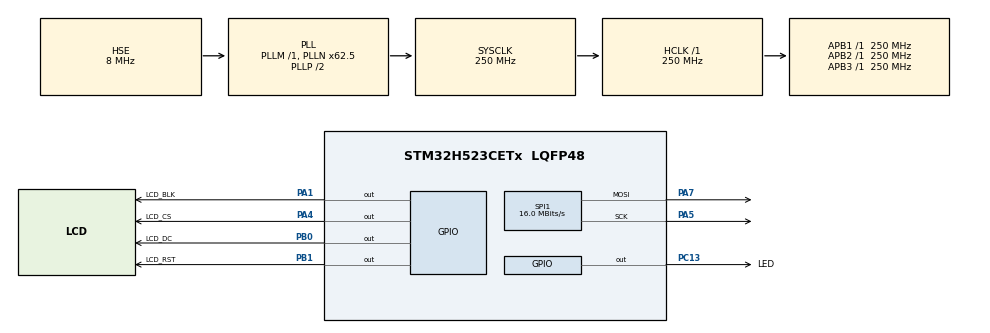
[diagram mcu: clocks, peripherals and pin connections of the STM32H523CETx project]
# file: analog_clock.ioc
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BOOTPATH.BootPathName=LEGACY
BOOTPATH.UserSelectedBootPath=LEGACY
CORTEX_M33_NS.Number-Cortex_Memory_Protection_Unit_Region0_OTP_RO_AREAS_Settings=MPU_REGION_NUMBER0
CORTEX_M33_NS.default_mode_Activation=1
CORTEX_M33_NS.userName=CORTEX_M33
GPDMA1.DESTDATAWIDTH_GPDMACH0=DMA_DEST_DATAWIDTH_HALFWORD
GPDMA1.DIRECTION_GPDMACH0=DMA_MEMORY_TO_PERIPH
GPDMA1.IPHANDLE_GPDMACH0-SIMPLEREQUEST_GPDMACH0=__NULL
GPDMA1.REQUEST_GPDMACH0=GPDMA1_REQUEST_SPI1_TX
GPDMA1.SRCDATAWIDTH_GPDMACH0=DMA_SRC_DATAWIDTH_HALFWORD
GPDMA1.SRCINC_GPDMACH0=DMA_SINC_INCREMENTED
Mcu.Family=STM32H5
Mcu.Name=STM32H523CETx
Mcu.Package=LQFP48
NVIC.GPDMA1_Channel0_IRQn=true\:0\:0\:false\:false\:true\:false\:false\:true\:true
NVIC.PriorityGroup=NVIC_PRIORITYGROUP_4
NVIC.SPI1_IRQn=true\:0\:0\:false\:false\:true\:false\:true\:true\:true
NVIC.TIM6_IRQn=true\:0\:0\:false\:false\:true\:false\:true\:true\:true
NVIC.TIM7_IRQn=true\:15\:0\:false\:false\:true\:false\:false\:true\:true
NVIC.TimeBase=TIM7_IRQn
NVIC.TimeBaseIP=TIM7
PA1.GPIO_Label=LCD_BLK
PA1.GPIO_Speed=GPIO_SPEED_FREQ_VERY_HIGH
PA1.Signal=GPIO_Output
PA13(JTMS/SWDIO).Mode=Serial_Wire
PA13(JTMS/SWDIO).Signal=DEBUG_JTMS-SWDIO
PA14(JTCK/SWCLK).Mode=Serial_Wire
PA14(JTCK/SWCLK).Signal=DEBUG_JTCK-SWCLK
PA4.GPIO_Label=LCD_CS
PA4.GPIO_Speed=GPIO_SPEED_FREQ_VERY_HIGH
PA4.PinState=GPIO_PIN_SET
PA4.Signal=GPIO_Output
PA5.Mode=TX_Only_Simplex_Unidirect_Master
PA5.Signal=SPI1_SCK
PA7.Mode=TX_Only_Simplex_Unidirect_Master
PA7.Signal=SPI1_MOSI
PB0.GPIO_Label=LCD_DC
PB0.GPIO_Speed=GPIO_SPEED_FREQ_VERY_HIGH
PB0.PinState=GPIO_PIN_SET
PB0.Signal=GPIO_Output
PB1.GPIO_Label=LCD_RST
PB1.GPIO_Speed=GPIO_SPEED_FREQ_VERY_HIGH
PB1.PinState=GPIO_PIN_SET
PB1.Signal=GPIO_Output
PC13.GPIO_Label=LED
PC13.PinState=GPIO_PIN_SET
PC13.Signal=GPIO_Output
PH0-OSC_IN(PH0).Mode=HSE-External-Oscillator
PH0-OSC_IN(PH0).Signal=RCC_OSC_IN
PH1-OSC_OUT(PH1).Mode=HSE-External-Oscillator
PH1-OSC_OUT(PH1).Signal=RCC_OSC_OUT
ProjectManager.HeapSize=0x200
ProjectManager.StackSize=0x4000
ProjectManager.TargetToolchain=STM32CubeIDE
RCC.ADCFreq_Value=250000000
RCC.AHBFreq_Value=250000000
RCC.APB1Freq_Value=250000000
RCC.APB1TimFreq_Value=250000000
RCC.APB2Freq_Value=250000000
RCC.APB2TimFreq_Value=250000000
RCC.APB3Freq_Value=250000000
RCC.CSI_VALUE=4000000
RCC.CortexFreq_Value=250000000
RCC.EPOD_VALUE=8000000
RCC.HCLKFreq_Value=250000000
RCC.HSE_VALUE=8000000
RCC.HSI48_VALUE=48000000
RCC.HSI_VALUE=64000000
RCC.LSE_VALUE=32768
RCC.LSIRC_VALUE=32000
RCC.PLLFRACN=4096
RCC.PLLN=62
RCC.PLLSourceVirtual=RCC_PLL1_SOURCE_HSE
RCC.SPI1CLockSelection=RCC_SPI1CLKSOURCE_CLKP
RCC.SYSCLKFreq_VALUE=250000000
RCC.SYSCLKSource=RCC_SYSCLKSOURCE_PLLCLK
RCC.USBFreq_Value=48000000
RCC.VCOOutputFreq_Value=500000000
RTC.Date=8
RTC.Month=RTC_MONTH_SEPTEMBER
RTC.WeekDay=RTC_WEEKDAY_TUESDAY
RTC.Year=26
SPI1.BaudRatePrescaler=SPI_BAUDRATEPRESCALER_2
SPI1.CalculateBaudRate=16.0 MBits/s
SPI1.DataSize=SPI_DATASIZE_16BIT
SPI1.Direction=SPI_DIRECTION_2LINES_TXONLY
SPI1.Mode=SPI_MODE_MASTER
SPI1.VirtualType=VM_MASTER
STMicroelectronics.X-CUBE-TOUCHGFX.4.26.1.ApplicationCcGraphicsJjApplication=TouchGFXOoGenerator
STMicroelectronics.X-CUBE-TOUCHGFX.4.26.1.tgfx_block_size=4800
STMicroelectronics.X-CUBE-TOUCHGFX.4.26.1.tgfx_buffering_strategy=Partial
STMicroelectronics.X-CUBE-TOUCHGFX.4.26.1.tgfx_custom_height=240
STMicroelectronics.X-CUBE-TOUCHGFX.4.26.1.tgfx_custom_width=240
STMicroelectronics.X-CUBE-TOUCHGFX.4.26.1_IsPackSelfContextualization=true
THREADX.TX_APP_GENERATE_INIT_CODE=true
THREADX.TX_APP_MEM_POOL_SIZE=16384
TIM6.PeriodNoDither=1666
TIM6.Prescaler=2499
VP_BOOTPATH_VS_BOOTPATH.Mode=BP_Activate
VP_CORTEX_M33_NS_VS_Hclk.Mode=Hclk_Mode
VP_CRC_VS_CRC.Mode=CRC_Activate
VP_GPDMA1_VS_GPDMACH0.Mode=SIMPLEREQUEST_GPDMACH0
VP_ICACHE_VS_ICACHE.Mode=DirectMappedCache
VP_MEMORYMAP_VS_MEMORYMAP.Mode=CurAppReg
VP_PWR_VS_LPOM.Mode=PowerOptimisation
VP_PWR_VS_SECSignals.Mode=Security/Privilege
VP_RTC_VS_RTC_Activate.Mode=RTC_Enabled
VP_RTC_VS_RTC_Calendar.Mode=RTC_Calendar
VP_STMicroelectronics.X-CUBE-TOUCHGFX_VS_GraphicsJjApplication_4.26.1.Mode=GraphicsJjApplication
VP_SYS_VS_tim7.Mode=TIM7
VP_THREADX_VS_RTOSJjThreadXJjCoreJjDefault.Mode=Core_Default
VP_TIM6_VS_ClockSourceINT.Mode=Enable_Timer
board=custom

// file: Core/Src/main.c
/* USER CODE BEGIN Header */
/**
  ******************************************************************************
  * @file           : main.c
  * @brief          : Main program body
  ******************************************************************************
  * @attention
  *
  * Copyright (c) 2026 STMicroelectronics.
  * All rights reserved.
  *
  * This software is licensed under terms that can be found in the LICENSE file
  * in the root directory of this software component.
  * If no LICENSE file comes with this software, it is provided AS-IS.
  *
  ******************************************************************************
  */
/* USER CODE END Header */
#include "app_threadx.h"
#include "main.h"
#include "app_touchgfx.h"

/* USER CODE BEGIN Includes */
#include "st7789.h"
#include <stdio.h>
#if defined(LOG_BACKEND_RTT)
  #include "SEGGER_RTT.h"
#endif
/* USER CODE END Includes */

/* USER CODE BEGIN PD */
#if   defined(LOG_BACKEND_RTT)
  #define LOG_BACKEND_NAME "SEGGER RTT"
#elif defined(LOG_BACKEND_SWO)
  #define LOG_BACKEND_NAME "SWV / ITM port 0"
#elif defined(LOG_BACKEND_UART)
  #define LOG_BACKEND_NAME "USART1 @ 115200"
#else
  #error "Chua chon backend: define LOG_BACKEND_RTT / _SWO / _UART"
#endif
/* USER CODE END PD */

CRC_HandleTypeDef hcrc;

RTC_HandleTypeDef hrtc;

SPI_HandleTypeDef hspi1;
DMA_HandleTypeDef handle_GPDMA1_Channel0;

TIM_HandleTypeDef htim6;

void SystemClock_Config(void);
void PeriphCommonClock_Config(void);
static void MPU_Config(void);
static void MX_GPIO_Init(void);
static void MX_GPDMA1_Init(void);
static void MX_ICACHE_Init(void);
static void MX_SPI1_Init(void);
static void MX_TIM6_Init(void);
static void MX_CRC_Init(void);
static void MX_RTC_Init(void);

/* USER CODE BEGIN 0 */
extern void touchgfxSignalVSync(void);

/* printf() -> _write() -> __io_putchar() -> backend */
int __io_putchar(int ch)
{
#if   defined(LOG_BACKEND_RTT)
  SEGGER_RTT_PutChar(0, (char)ch);
#elif defined(LOG_BACKEND_SWO)
  ITM_SendChar((uint32_t)ch);
#else
  HAL_UART_Transmit(&huart1, (uint8_t *)&ch, 1, HAL_MAX_DELAY);
#endif
  return ch;
}
/* USER CODE END 0 */

int main(void)
{

  /* MCU Configuration--------------------------------------------------------*/

  /* MPU Configuration--------------------------------------------------------*/
  MPU_Config();

  /* Reset of all peripherals, Initializes the Flash interface and the Systick. */
  HAL_Init();

  /* Configure the system clock */
  SystemClock_Config();

  /* Configure the peripherals common clocks */
  PeriphCommonClock_Config();

  /* Initialize all configured peripherals */
  MX_GPIO_Init();
  MX_GPDMA1_Init();
  MX_ICACHE_Init();
  MX_SPI1_Init();
  MX_TIM6_Init();
  MX_CRC_Init();
  MX_RTC_Init();
  /* Call PreOsInit function */
  MX_TouchGFX_PreOSInit();
  /* USER CODE BEGIN 2 */

#if defined(LOG_BACKEND_RTT)
  SEGGER_RTT_Init();
#endif

  setvbuf(stdout, NULL, _IONBF, 0);   /* tat buffer: printf ra ngay lap tuc */

  printf("\r\n==========================================\r\n");
  printf("  Hello World from STM32H523CET6!\r\n");
  printf("  Backend: %s\r\n", LOG_BACKEND_NAME);
  printf("  SYSCLK : %lu Hz\r\n", (unsigned long)HAL_RCC_GetSysClockFreq());
  printf("  HCLK   : %lu Hz\r\n", (unsigned long)HAL_RCC_GetHCLKFreq());
  printf("  Build  : %s %s\r\n", __DATE__, __TIME__);
  printf("==========================================\r\n\n");
  /* USER CODE END 2 */

  MX_ThreadX_Init();

  /* We should never get here as control is now taken by the scheduler */

  /* Infinite loop */
  while (1)
  {

  }
}

void SystemClock_Config(void)
{
  RCC_OscInitTypeDef RCC_OscInitStruct = {0};
  RCC_ClkInitTypeDef RCC_ClkInitStruct = {0};

  /** Configure the main internal regulator output voltage
  */
  __HAL_PWR_VOLTAGESCALING_CONFIG(PWR_REGULATOR_VOLTAGE_SCALE0);

  while(!__HAL_PWR_GET_FLAG(PWR_FLAG_VOSRDY)) {}

  /** Initializes the RCC Oscillators according to the specified parameters
  * in the RCC_OscInitTypeDef structure.
  */
  RCC_OscInitStruct.OscillatorType = RCC_OSCILLATORTYPE_HSI|RCC_OSCILLATORTYPE_LSI
                              |RCC_OSCILLATORTYPE_HSE;
  RCC_OscInitStruct.HSEState = RCC_HSE_ON;
  RCC_OscInitStruct.HSIState = RCC_HSI_ON;
  RCC_OscInitStruct.HSIDiv = RCC_HSI_DIV2;
  RCC_OscInitStruct.HSICalibrationValue = RCC_HSICALIBRATION_DEFAULT;
  RCC_OscInitStruct.LSIState = RCC_LSI_ON;
  RCC_OscInitStruct.PLL.PLLState = RCC_PLL_ON;
  RCC_OscInitStruct.PLL.PLLSource = RCC_PLL1_SOURCE_HSE;
  RCC_OscInitStruct.PLL.PLLM = 1;
  RCC_OscInitStruct.PLL.PLLN = 62;
  RCC_OscInitStruct.PLL.PLLP = 2;
  RCC_OscInitStruct.PLL.PLLQ = 2;
  RCC_OscInitStruct.PLL.PLLR = 2;
  RCC_OscInitStruct.PLL.PLLRGE = RCC_PLL1_VCIRANGE_3;
  RCC_OscInitStruct.PLL.PLLVCOSEL = RCC_PLL1_VCORANGE_WIDE;
  RCC_OscInitStruct.PLL.PLLFRACN = 4096;
  if (HAL_RCC_OscConfig(&RCC_OscInitStruct) != HAL_OK)
  {
    Error_Handler();
  }

  /** Initializes the CPU, AHB and APB buses clocks
  */
  RCC_ClkInitStruct.ClockType = RCC_CLOCKTYPE_HCLK|RCC_CLOCKTYPE_SYSCLK
                              |RCC_CLOCKTYPE_PCLK1|RCC_CLOCKTYPE_PCLK2
                              |RCC_CLOCKTYPE_PCLK3;
  RCC_ClkInitStruct.SYSCLKSource = RCC_SYSCLKSOURCE_PLLCLK;
  RCC_ClkInitStruct.AHBCLKDivider = RCC_SYSCLK_DIV1;
  RCC_ClkInitStruct.APB1CLKDivider = RCC_HCLK_DIV1;
  RCC_ClkInitStruct.APB2CLKDivider = RCC_HCLK_DIV1;
  RCC_ClkInitStruct.APB3CLKDivider = RCC_HCLK_DIV1;

  if (HAL_RCC_ClockConfig(&RCC_ClkInitStruct, FLASH_LATENCY_5) != HAL_OK)
  {
    Error_Handler();
  }

  /** Configure the programming delay
  */
  __HAL_FLASH_SET_PROGRAM_DELAY(FLASH_PROGRAMMING_DELAY_2);
}

void PeriphCommonClock_Config(void)
{
  RCC_PeriphCLKInitTypeDef PeriphClkInitStruct = {0};

  /** Initializes the peripherals clock
  */
  PeriphClkInitStruct.PeriphClockSelection = RCC_PERIPHCLK_CKPER;
  PeriphClkInitStruct.CkperClockSelection = RCC_CLKPSOURCE_HSI;
  if (HAL_RCCEx_PeriphCLKConfig(&PeriphClkInitStruct) != HAL_OK)
  {
    Error_Handler();
  }
}

static void MX_CRC_Init(void)
{

  hcrc.Instance = CRC;
  hcrc.Init.DefaultPolynomialUse = DEFAULT_POLYNOMIAL_ENABLE;
  hcrc.Init.DefaultInitValueUse = DEFAULT_INIT_VALUE_ENABLE;
  hcrc.Init.InputDataInversionMode = CRC_INPUTDATA_INVERSION_NONE;
  hcrc.Init.OutputDataInversionMode = CRC_OUTPUTDATA_INVERSION_DISABLE;
  hcrc.InputDataFormat = CRC_INPUTDATA_FORMAT_BYTES;
  if (HAL_CRC_Init(&hcrc) != HAL_OK)
  {
    Error_Handler();
  }

}

static void MX_GPDMA1_Init(void)
{

  /* Peripheral clock enable */
  __HAL_RCC_GPDMA1_CLK_ENABLE();

  /* GPDMA1 interrupt Init */
    HAL_NVIC_SetPriority(GPDMA1_Channel0_IRQn, 0, 0);
    HAL_NVIC_EnableIRQ(GPDMA1_Channel0_IRQn);

}

static void MX_ICACHE_Init(void)
{

  /** Enable instruction cache in 1-way (direct mapped cache)
  */
  if (HAL_ICACHE_ConfigAssociativityMode(ICACHE_1WAY) != HAL_OK)
  {
    Error_Handler();
  }
  if (HAL_ICACHE_Enable() != HAL_OK)
  {
    Error_Handler();
  }

}

static void MX_RTC_Init(void)
{

  RTC_PrivilegeStateTypeDef privilegeState = {0};
  RTC_TimeTypeDef sTime = {0};
  RTC_DateTypeDef sDate = {0};

  /** Initialize RTC Only
  */
  hrtc.Instance = RTC;
  hrtc.Init.HourFormat = RTC_HOURFORMAT_24;
  hrtc.Init.AsynchPrediv = 127;
  hrtc.Init.SynchPrediv = 255;
  hrtc.Init.OutPut = RTC_OUTPUT_DISABLE;
  hrtc.Init.OutPutRemap = RTC_OUTPUT_REMAP_NONE;
  hrtc.Init.OutPutPolarity = RTC_OUTPUT_POLARITY_HIGH;
  hrtc.Init.OutPutType = RTC_OUTPUT_TYPE_OPENDRAIN;
  hrtc.Init.OutPutPullUp = RTC_OUTPUT_PULLUP_NONE;
  hrtc.Init.BinMode = RTC_BINARY_NONE;
  if (HAL_RTC_Init(&hrtc) != HAL_OK)
  {
    Error_Handler();
  }
  privilegeState.rtcPrivilegeFull = RTC_PRIVILEGE_FULL_NO;
  privilegeState.backupRegisterPrivZone = RTC_PRIVILEGE_BKUP_ZONE_NONE;
  privilegeState.backupRegisterStartZone2 = RTC_BKP_DR0;
  privilegeState.backupRegisterStartZone3 = RTC_BKP_DR0;
  if (HAL_RTCEx_PrivilegeModeSet(&hrtc, &privilegeState) != HAL_OK)
  {
    Error_Handler();
  }

  /** Initialize RTC and set the Time and Date
  */
  sTime.Hours = 0x0;
  sTime.Minutes = 0x0;
  sTime.Seconds = 0x0;
  sTime.DayLightSaving = RTC_DAYLIGHTSAVING_NONE;
  sTime.StoreOperation = RTC_STOREOPERATION_RESET;
  if (HAL_RTC_SetTime(&hrtc, &sTime, RTC_FORMAT_BCD) != HAL_OK)
  {
    Error_Handler();
  }
  sDate.WeekDay = RTC_WEEKDAY_TUESDAY;
  sDate.Month = RTC_MONTH_SEPTEMBER;
  sDate.Date = 0x8;
  sDate.Year = 0x26;

  if (HAL_RTC_SetDate(&hrtc, &sDate, RTC_FORMAT_BCD) != HAL_OK)
  {
    Error_Handler();
  }

}

static void MX_SPI1_Init(void)
{

  /* SPI1 parameter configuration*/
  hspi1.Instance = SPI1;
  hspi1.Init.Mode = SPI_MODE_MASTER;
  hspi1.Init.Direction = SPI_DIRECTION_2LINES_TXONLY;
  hspi1.Init.DataSize = SPI_DATASIZE_16BIT;
  hspi1.Init.CLKPolarity = SPI_POLARITY_LOW;
  hspi1.Init.CLKPhase = SPI_PHASE_1EDGE;
  hspi1.Init.NSS = SPI_NSS_SOFT;
  hspi1.Init.BaudRatePrescaler = SPI_BAUDRATEPRESCALER_2;
  hspi1.Init.FirstBit = SPI_FIRSTBIT_MSB;
  hspi1.Init.TIMode = SPI_TIMODE_DISABLE;
  hspi1.Init.CRCCalculation = SPI_CRCCALCULATION_DISABLE;
  hspi1.Init.CRCPolynomial = 0x7;
  hspi1.Init.NSSPMode = SPI_NSS_PULSE_ENABLE;
  hspi1.Init.NSSPolarity = SPI_NSS_POLARITY_LOW;
  hspi1.Init.FifoThreshold = SPI_FIFO_THRESHOLD_01DATA;
  hspi1.Init.MasterSSIdleness = SPI_MASTER_SS_IDLENESS_00CYCLE;
  hspi1.Init.MasterInterDataIdleness = SPI_MASTER_INTERDATA_IDLENESS_00CYCLE;
  hspi1.Init.MasterReceiverAutoSusp = SPI_MASTER_RX_AUTOSUSP_DISABLE;
  hspi1.Init.MasterKeepIOState = SPI_MASTER_KEEP_IO_STATE_DISABLE;
  hspi1.Init.IOSwap = SPI_IO_SWAP_DISABLE;
  hspi1.Init.ReadyMasterManagement = SPI_RDY_MASTER_MANAGEMENT_INTERNALLY;
  hspi1.Init.ReadyPolarity = SPI_RDY_POLARITY_HIGH;
  if (HAL_SPI_Init(&hspi1) != HAL_OK)
  {
    Error_Handler();
  }
  /* USER CODE BEGIN SPI1_Init 2 */
  ST7789_Init();
  /* USER CODE END SPI1_Init 2 */

}

static void MX_TIM6_Init(void)
{

  TIM_MasterConfigTypeDef sMasterConfig = {0};

  htim6.Instance = TIM6;
  htim6.Init.Prescaler = 2499;
  htim6.Init.CounterMode = TIM_COUNTERMODE_UP;
  htim6.Init.Period = 1666;
  htim6.Init.AutoReloadPreload = TIM_AUTORELOAD_PRELOAD_DISABLE;
  if (HAL_TIM_Base_Init(&htim6) != HAL_OK)
  {
    Error_Handler();
  }
  sMasterConfig.MasterOutputTrigger = TIM_TRGO_RESET;
  sMasterConfig.MasterSlaveMode = TIM_MASTERSLAVEMODE_DISABLE;
  if (HAL_TIMEx_MasterConfigSynchronization(&htim6, &sMasterConfig) != HAL_OK)
  {
    Error_Handler();
  }

}

static void MX_GPIO_Init(void)
{
  GPIO_InitTypeDef GPIO_InitStruct = {0};

  /* GPIO Ports Clock Enable */
  __HAL_RCC_GPIOC_CLK_ENABLE();
  __HAL_RCC_GPIOH_CLK_ENABLE();
  __HAL_RCC_GPIOA_CLK_ENABLE();
  __HAL_RCC_GPIOB_CLK_ENABLE();

  /*Configure GPIO pin Output Level */
  HAL_GPIO_WritePin(LED_GPIO_Port, LED_Pin, GPIO_PIN_SET);

  /*Configure GPIO pin Output Level */
  HAL_GPIO_WritePin(LCD_BLK_GPIO_Port, LCD_BLK_Pin, GPIO_PIN_RESET);

  /*Configure GPIO pin Output Level */
  HAL_GPIO_WritePin(LCD_CS_GPIO_Port, LCD_CS_Pin, GPIO_PIN_SET);

  /*Configure GPIO pin Output Level */
  HAL_GPIO_WritePin(GPIOB, LCD_DC_Pin|LCD_RST_Pin, GPIO_PIN_SET);

  /*Configure GPIO pin : LED_Pin */
  GPIO_InitStruct.Pin = LED_Pin;
  GPIO_InitStruct.Mode = GPIO_MODE_OUTPUT_PP;
  GPIO_InitStruct.Pull = GPIO_NOPULL;
  GPIO_InitStruct.Speed = GPIO_SPEED_FREQ_LOW;
  HAL_GPIO_Init(LED_GPIO_Port, &GPIO_InitStruct);

  /*Configure GPIO pins : LCD_BLK_Pin LCD_CS_Pin */
  GPIO_InitStruct.Pin = LCD_BLK_Pin|LCD_CS_Pin;
  GPIO_InitStruct.Mode = GPIO_MODE_OUTPUT_PP;
  GPIO_InitStruct.Pull = GPIO_NOPULL;
  GPIO_InitStruct.Speed = GPIO_SPEED_FREQ_VERY_HIGH;
  HAL_GPIO_Init(GPIOA, &GPIO_InitStruct);

  /*Configure GPIO pins : LCD_DC_Pin LCD_RST_Pin */
  GPIO_InitStruct.Pin = LCD_DC_Pin|LCD_RST_Pin;
  GPIO_InitStruct.Mode = GPIO_MODE_OUTPUT_PP;
  GPIO_InitStruct.Pull = GPIO_NOPULL;
  GPIO_InitStruct.Speed = GPIO_SPEED_FREQ_VERY_HIGH;
  HAL_GPIO_Init(GPIOB, &GPIO_InitStruct);

}

 /* MPU Configuration */

void MPU_Config(void)
{
  MPU_Region_InitTypeDef MPU_InitStruct = {0};
  MPU_Attributes_InitTypeDef MPU_AttributesInit = {0};

  /* Disables the MPU */
  HAL_MPU_Disable();

  /** Initializes and configures the Region 0 and the memory to be protected
  */
  MPU_InitStruct.Enable = MPU_REGION_ENABLE;
  MPU_InitStruct.Number = MPU_REGION_NUMBER0;
  MPU_InitStruct.BaseAddress = 0x08FFF000;
  MPU_InitStruct.LimitAddress = 0x08FFFFFF;
  MPU_InitStruct.AttributesIndex = MPU_ATTRIBUTES_NUMBER0;
  MPU_InitStruct.AccessPermission = MPU_REGION_ALL_RO;
  MPU_InitStruct.DisableExec = MPU_INSTRUCTION_ACCESS_DISABLE;
  MPU_InitStruct.IsShareable = MPU_ACCESS_NOT_SHAREABLE;

  HAL_MPU_ConfigRegion(&MPU_InitStruct);

  /** Initializes and configures the Attribute 0 and the memory to be protected
  */
  MPU_AttributesInit.Number = MPU_ATTRIBUTES_NUMBER0;
  MPU_AttributesInit.Attributes = INNER_OUTER(MPU_NOT_CACHEABLE);

  HAL_MPU_ConfigMemoryAttributes(&MPU_AttributesInit);
  /* Enables the MPU */
  HAL_MPU_Enable(MPU_PRIVILEGED_DEFAULT);

}

void HAL_TIM_PeriodElapsedCallback(TIM_HandleTypeDef *htim)
{
  if (htim->Instance == TIM7)
  {
    HAL_IncTick();
  }
  /* USER CODE BEGIN Callback 1 */
  if (htim->Instance == TIM6)
  {
    touchgfxSignalVSync();          /* nhip VSync 60 Hz cho TouchGFX */
  }
  /* USER CODE END Callback 1 */
}

void Error_Handler(void)
{
  __disable_irq();
  while (1)
  {
  }
}
